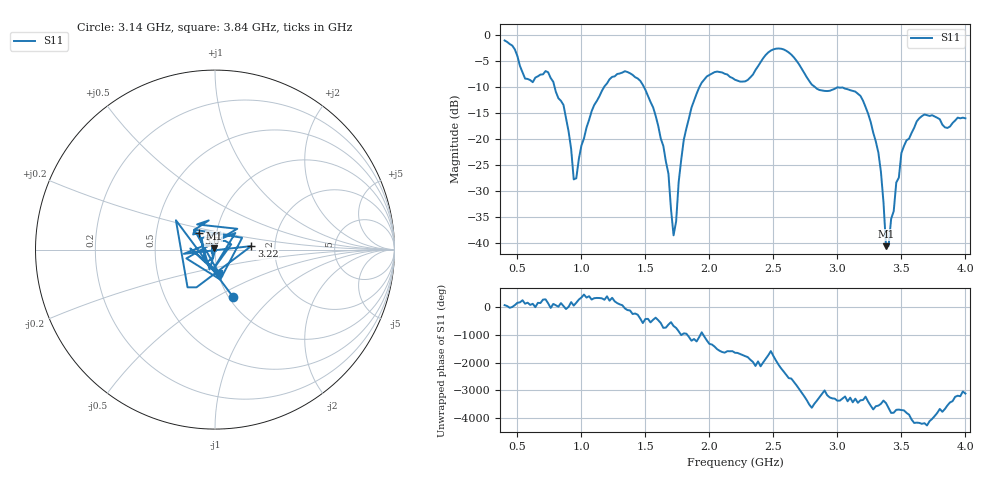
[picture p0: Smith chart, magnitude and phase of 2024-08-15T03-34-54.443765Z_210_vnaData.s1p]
!Created with skrf (http://scikit-rf.org).
# Hz S RI R 50.0
!freq ReS11 ImS11
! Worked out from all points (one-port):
!   181 points, 400 MHz to 4 GHz, reference 50 ohm
!   lowest |S11| = -40.5 dB at 3.38 GHz (marker M1), VSWR 1.02, Z = 49.4 + j0.714 ohm
!   |S11| at or under -10 dB: 790.5 MHz to 1.177 GHz (386.9 MHz wide, 39.3 % of centre); 1.489 GHz to 1.922 GHz (433.6 MHz wide, 25.4 % of centre); 2.824 GHz to end of sweep
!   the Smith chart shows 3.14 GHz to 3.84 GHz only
!   S11 on the Smith chart (normalised r, x): 3.14 GHz: 1.05, -0.61; 3.22 GHz: 1.51, +0.06; 3.6 GHz: 0.82, +0.15; 3.84 GHz: 1.01, -0.26
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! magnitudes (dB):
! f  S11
! 400 MHz  -1.1
! 560 MHz  -8.4
! 740 MHz  -7.2
! 860 MHz  -13.5
! 940 MHz  -27.7
! 960 MHz  -27.5
! 1.08 GHz  -14.6
! 1.3 GHz  -7.4
! 1.56 GHz  -13.9
! 1.68 GHz  -26.6
! 1.72 GHz  -38.5
! 1.76 GHz  -28.2
! 1.82 GHz  -17.9
! 1.94 GHz  -9.2
! 2.2 GHz  -8.6
! 2.5 GHz  -2.8
! 2.66 GHz  -4.3
! 2.84 GHz  -10.3
! 3.1 GHz  -10.6
! 3.14 GHz  -10.9
! 3.22 GHz  -13.8
! 3.32 GHz  -22.6
! 3.38 GHz  -40.5
! 3.5 GHz  -22.7
! 3.56 GHz  -19.9
! 3.6 GHz  -17.8
! 3.84 GHz  -17.7
! 4 GHz  -16.0
